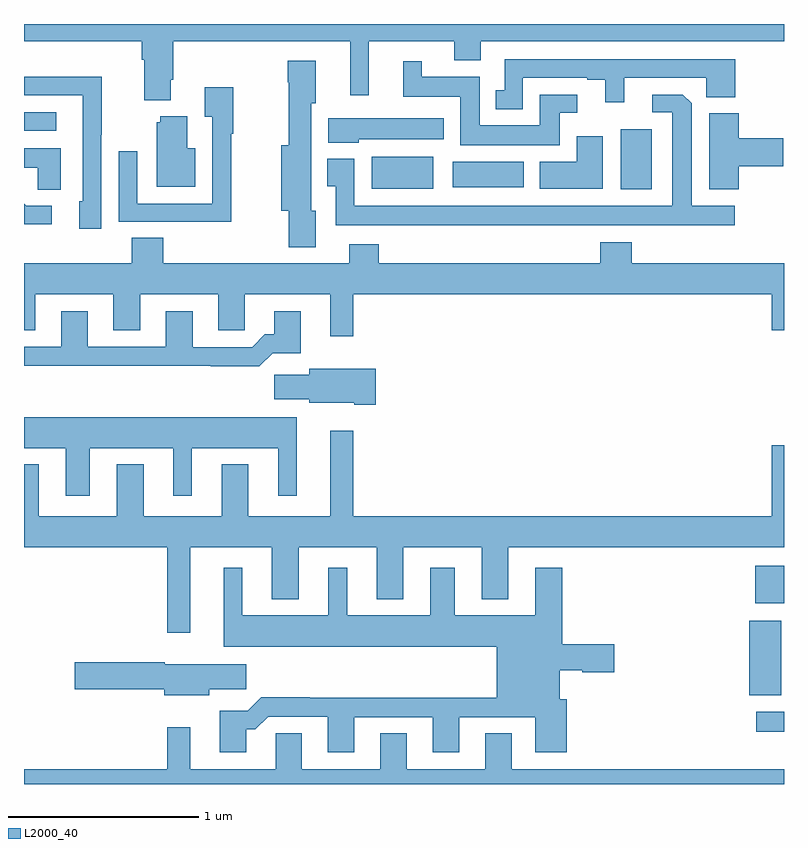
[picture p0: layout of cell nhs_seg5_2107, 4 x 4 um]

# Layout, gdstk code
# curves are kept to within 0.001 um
import gdstk
lib = gdstk.Library(unit=1e-6, precision=1e-09)
def R(c, l, rs):  # rectangles x0, y0, x1, y1
    for r in rs: c.add(gdstk.rectangle(r[:2], r[2:], *l))
def P(c, l, *ps):  # polygons
    for p in ps: c.add(gdstk.Polygon(p, *l))
L2000_40 = (2000, 40)

nhs_seg5_2107 = lib.new_cell('nhs_seg5_2107')
R(nhs_seg5_2107, L2000_40, [(236.853,905.075,237,905.179), (236.816,905.267,236.986,905.659), (236.849,905.75,237,905.949), (236.141,907.928,236.305,908.245), (234.83,907.931,235.153,908.101), (235.257,907.94,235.63,908.074), (233,908.238,233.17,908.334)])
P(nhs_seg5_2107, L2000_40, [(233.773,908.506),(233.786,908.506),(233.786,908.708),(234.716,908.708),(234.716,908.424),(234.815,908.424),(234.815,908.708),(235.265,908.708),(235.265,908.609),(235.405,908.609),(235.405,908.708),(237,908.708),(237,908.799),(233,908.799),(233,908.708),(233.621,908.708),(233.621,908.612),(233.633,908.612),(233.633,908.399),(233.773,908.399)],
  [(235.626,908.517),(235.964,908.517),(235.964,908.505),(236.06,908.505),(236.06,908.388),(236.158,908.388),(236.158,908.517),(236.592,908.517),(236.592,908.414),(236.744,908.414),(236.744,908.613),(235.53,908.613),(235.53,908.451),(235.484,908.451),(235.484,908.351),(235.626,908.351)],
  [(234.535,907.815),(234.511,907.815),(234.511,908.382),(234.535,908.382),(234.535,908.605),(234.389,908.605),(234.389,908.492),(234.394,908.492),(234.394,908.161),(234.353,908.161),(234.353,907.817),(234.394,907.817),(234.394,907.625),(234.535,907.625)],
  [(235.819,908.331),(235.912,908.331),(235.912,908.427),(235.715,908.427),(235.715,908.266),(235.399,908.266),(235.399,908.521),(235.093,908.521),(235.093,908.602),(234.995,908.602),(234.995,908.417),(235.295,908.417),(235.295,908.162),(235.819,908.162)],
  [(233.406,908.215),(233.409,908.215),(233.409,908.522),(233,908.522),(233,908.424),(233.31,908.424),(233.31,907.866),(233.291,907.866),(233.291,907.722),(233.406,907.722)],
  [(234.092,908.222),(234.1,908.222),(234.1,908.467),(233.951,908.467),(233.951,908.311),(233.991,908.311),(233.991,907.854),(233.595,907.854),(233.595,908.128),(233.499,908.128),(233.499,907.758),(233.815,907.758),(233.815,907.757),(234.092,907.757)],
  [(236.74,907.843),(236.515,907.843),(236.514,908.381),(236.468,908.427),(236.307,908.427),(236.307,908.334),(236.411,908.334),(236.411,907.843),(234.738,907.843),(234.738,908.089),(234.596,908.089),(234.596,907.945),(234.641,907.945),(234.641,907.739),(236.74,907.739)],
  [(236.762,908.051),(236.995,908.051),(236.995,908.198),(236.762,908.198),(236.762,908.329),(236.606,908.329),(236.606,907.928),(236.762,907.928)],
  [(233.902,908.146),(233.86,908.146),(233.86,908.314),(233.717,908.314),(233.717,908.283),(233.699,908.283),(233.699,907.943),(233.902,907.943)],
  [(234.762,908.192),(235.21,908.192),(235.21,908.302),(234.6,908.302),(234.6,908.174),(234.762,908.174)],
  [(236.047,908.209),(235.91,908.209),(235.91,908.074),(235.715,908.074),(235.715,907.931),(236.047,907.931)],
  [(233.194,908.146),(233,908.146),(233,908.042),(233.073,908.042),(233.073,907.927),(233.194,907.927)],
  [(233.146,907.842),(233.011,907.842),(233,907.853),(233,907.745),(233.146,907.745)],
  [(234.733,907.376),(236.936,907.376),(236.936,907.188),(237,907.188),(237,907.54),(236.198,907.54),(236.198,907.651),(236.033,907.651),(236.033,907.54),(234.866,907.54),(234.866,907.639),(234.713,907.639),(234.713,907.54),(233.732,907.54),(233.732,907.673),(233.567,907.673),(233.567,907.54),(233,907.54),(233,907.186),(233.059,907.186),(233.059,907.376),(233.471,907.376),(233.471,907.186),(233.611,907.186),(233.611,907.376),(234.023,907.376),(234.023,907.186),(234.162,907.186),(234.162,907.376),(234.611,907.376),(234.611,907.155),(234.733,907.155)],
  [(234.308,907.067),(234.457,907.067),(234.457,907.288),(234.317,907.288),(234.317,907.165),(234.268,907.165),(234.201,907.098),(233.887,907.098),(233.887,907.288),(233.747,907.288),(233.747,907.101),(233.335,907.101),(233.335,907.288),(233.195,907.288),(233.195,907.101),(233,907.101),(233,907),(233.983,907),(233.983,906.998),(234.239,906.998)],
  [(234.85,906.985),(234.501,906.985),(234.501,906.953),(234.318,906.953),(234.318,906.824),(234.501,906.824),(234.501,906.806),(234.737,906.806),(234.737,906.794),(234.85,906.794)],
  [(233.347,906.566),(233.786,906.566),(233.786,906.315),(233.884,906.315),(233.884,906.566),(234.338,906.566),(234.338,906.315),(234.436,906.315),(234.436,906.73),(233,906.73),(233,906.566),(233.219,906.566),(233.219,906.315),(233.347,906.315)],
  [(233.875,906.044),(234.305,906.044),(234.305,905.771),(234.445,905.771),(234.445,906.044),(234.857,906.044),(234.857,905.771),(234.997,905.771),(234.997,906.044),(235.409,906.044),(235.409,905.771),(235.549,905.771),(235.549,906.044),(237,906.044),(237,906.583),(236.936,906.583),(236.936,906.208),(234.733,906.208),(234.733,906.658),(234.611,906.658),(234.611,906.208),(234.181,906.208),(234.181,906.481),(234.041,906.481),(234.041,906.208),(233.629,906.208),(233.629,906.481),(233.489,906.481),(233.489,906.208),(233.077,906.208),(233.077,906.481),(233,906.481),(233,906.044),(233.754,906.044),(233.754,905.595),(233.875,905.595)],
  [(234.169,905.087),(234.218,905.087),(234.285,905.154),(234.599,905.154),(234.599,904.965),(234.739,904.965),(234.739,905.151),(235.151,905.151),(235.151,904.965),(235.291,904.965),(235.291,905.151),(235.691,905.151),(235.691,904.965),(235.856,904.965),(235.856,905.244),(235.819,905.244),(235.819,905.399),(235.939,905.399),(235.939,905.387),(236.107,905.387),(236.107,905.534),(235.832,905.534),(235.832,905.938),(235.691,905.938),(235.691,905.686),(235.267,905.686),(235.267,905.938),(235.139,905.938),(235.139,905.686),(234.7,905.686),(234.7,905.938),(234.602,905.938),(234.602,905.686),(234.148,905.686),(234.148,905.938),(234.05,905.938),(234.05,905.522),(235.487,905.522),(235.487,905.252),(234.503,905.252),(234.503,905.255),(234.248,905.255),(234.178,905.185),(234.029,905.185),(234.029,904.965),(234.169,904.965)],
  [(233.974,905.299),(234.169,905.299),(234.169,905.428),(233.742,905.428),(233.742,905.441),(233.268,905.441),(233.268,905.299),(233.738,905.299),(233.738,905.267),(233.974,905.267)],
  [(237,904.876),(235.567,904.876),(235.567,905.066),(235.427,905.066),(235.427,904.876),(235.015,904.876),(235.015,905.066),(234.875,905.066),(234.875,904.876),(234.463,904.876),(234.463,905.066),(234.324,905.066),(234.324,904.876),(233.875,904.876),(233.875,905.098),(233.754,905.098),(233.754,904.876),(233,904.876),(233,904.799),(237,904.799)])

lib.write_gds('nhs_seg5_2107.gds')
